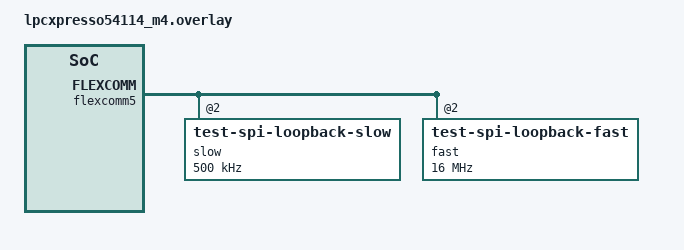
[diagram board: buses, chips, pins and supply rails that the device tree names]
/*
 * Copyright (c) 2022 Kumar Gala <galak@kernel.org>
 *
 * SPDX-License-Identifier: Apache-2.0
 */

&flexcomm5 {
	slow@2 {
		compatible = "test-spi-loopback-slow";
		reg = <2>;
		spi-max-frequency = <500000>;
	};
	fast@2 {
		compatible = "test-spi-loopback-fast";
		reg = <2>;
		spi-max-frequency = <16000000>;
	};
};
